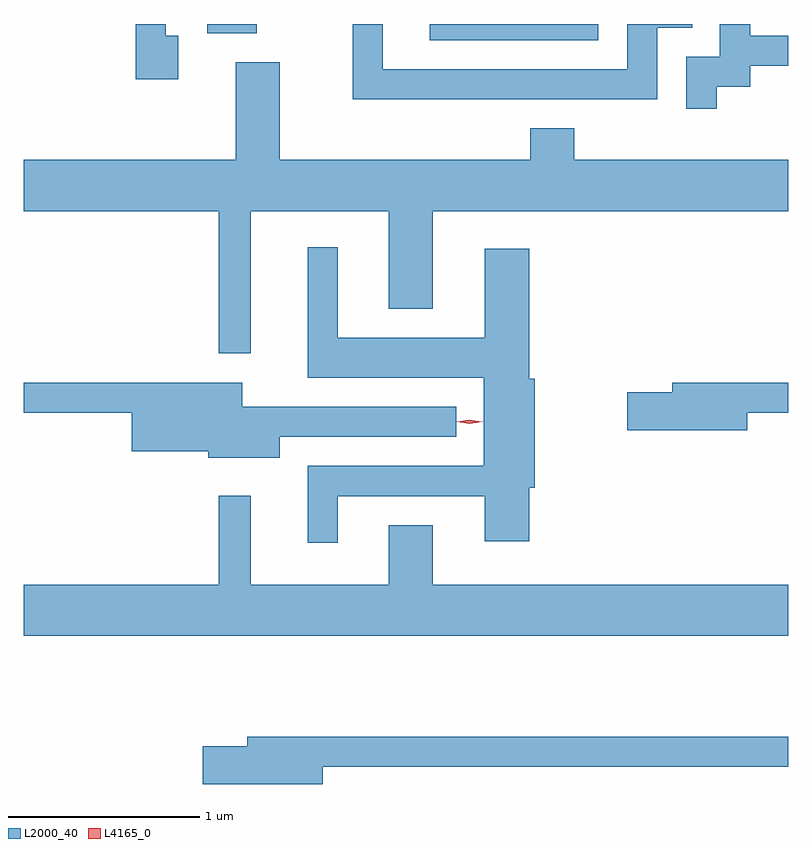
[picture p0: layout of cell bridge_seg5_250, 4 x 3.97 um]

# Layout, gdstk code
import gdstk
lib = gdstk.Library(unit=1e-6, precision=1e-09)
def R(c, l, rs):  # rectangles x0, y0, x1, y1
    for r in rs: c.add(gdstk.rectangle(r[:2], r[2:], *l))
def P(c, l, *ps):  # polygons
    for p in ps: c.add(gdstk.Polygon(p, *l))
L2000_40 = (2000, 40)
L4165_0 = (4165, 0)

bridge_seg5_250 = lib.new_cell('bridge_seg5_250')
R(bridge_seg5_250, L2000_40, [(930.183,1484.331,931.064,1484.415), (929.021,1484.366,929.279,1484.415)])
P(bridge_seg5_250, L2000_40, [(928.869,1484.354),(928.804,1484.354),(928.804,1484.415),(928.646,1484.415),(928.646,1484.126),(928.869,1484.126)],
  [(931.374,1484.396),(931.558,1484.396),(931.558,1484.415),(931.216,1484.415),(931.216,1484.179),(929.939,1484.179),(929.939,1484.415),(929.781,1484.415),(929.781,1484.021),(931.374,1484.021)],
  [(931.684,1484.086),(931.859,1484.086),(931.859,1484.196),(932.06,1484.196),(932.06,1484.354),(931.859,1484.354),(931.859,1484.415),(931.701,1484.415),(931.701,1484.244),(931.526,1484.244),(931.526,1483.973),(931.684,1483.973)],
  [(929.249,1483.436),(929.971,1483.436),(929.971,1482.926),(930.199,1482.926),(930.199,1483.436),(932.06,1483.436),(932.06,1483.704),(930.939,1483.704),(930.939,1483.869),(930.711,1483.869),(930.711,1483.704),(929.399,1483.704),(929.399,1484.214),(929.171,1484.214),(929.171,1483.704),(928.06,1483.704),(928.06,1483.436),(929.081,1483.436),(929.081,1482.693),(929.249,1482.693)],
  [(929.704,1481.946),(930.471,1481.946),(930.471,1481.711),(930.704,1481.711),(930.704,1481.991),(930.734,1481.991),(930.734,1482.559),(930.704,1482.559),(930.704,1483.239),(930.471,1483.239),(930.471,1482.774),(929.704,1482.774),(929.704,1483.248),(929.546,1483.248),(929.546,1482.566),(930.466,1482.566),(930.466,1482.104),(929.546,1482.104),(929.546,1481.703),(929.704,1481.703)],
  [(929.399,1482.256),(930.323,1482.256),(930.323,1482.414),(929.204,1482.414),(929.204,1482.539),(928.06,1482.539),(928.06,1482.381),(928.626,1482.381),(928.626,1482.181),(929.026,1482.181),(929.026,1482.146),(929.399,1482.146)],
  [(931.844,1482.381),(932.06,1482.381),(932.06,1482.539),(931.451,1482.539),(931.451,1482.489),(931.216,1482.489),(931.216,1482.291),(931.844,1482.291)],
  [(932.06,1481.484),(930.199,1481.484),(930.199,1481.794),(929.971,1481.794),(929.971,1481.484),(929.249,1481.484),(929.249,1481.948),(929.081,1481.948),(929.081,1481.484),(928.06,1481.484),(928.06,1481.216),(932.06,1481.216)],
  [(929.624,1480.531),(932.06,1480.531),(932.06,1480.689),(929.231,1480.689),(929.231,1480.639),(928.996,1480.639),(928.996,1480.441),(929.624,1480.441)])
P(bridge_seg5_250, L4165_0, [(930.392,1482.325),(930.327,1482.334),(930.327,1482.335),(930.327,1482.336),(930.392,1482.345),(930.457,1482.336),(930.457,1482.335),(930.457,1482.334)],
  [(930.393,1482.325),(930.324,1482.334),(930.324,1482.335),(930.324,1482.336),(930.393,1482.344),(930.461,1482.335),(930.462,1482.334),(930.461,1482.334)])

lib.write_gds('bridge_seg5_250.gds')
